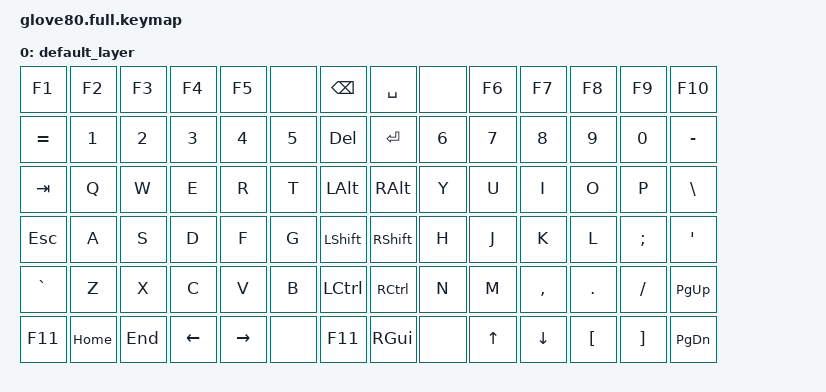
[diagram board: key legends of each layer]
/*
 * Copyright (c) 2020 The ZMK Contributors
 *
 * SPDX-License-Identifier: MIT
 */

#include <behaviors.dtsi>
#include <dt-bindings/zmk/keys.h>

/ {
    keymap {
        compatible = "zmk,keymap";

        default_layer {
// ---------------------------------------------------------------------------------------------------------------------------------
// |  F1   |  F2 |  F3 |  F4  |  F5  | n/a  |  BKSP   | | SPACE   | n/a  |  F6   |  F7   |  F8  |   F9  |  F10 |
// |  =    |  1  |  2  |  3   |  4   |  5   |  DEL    | | ENTER   |  6   |   7   |   8   |  9   |   0   |   -  |
// |  TAB  |  Q  |  W  |  E   |  R   |  T   | L ALT   | | R ALT   |  Y   |   U   |   I   |  O   |   P   |   \  |
// |  ESC  |  A  |  S  |  D   |  F   |  G   | L SHIFT | | R SHIFT |  H   |   J   |   K   |  L   |   ;   |   '  |
// |   `   |  Z  |  X  |  C   |  V   |  B   | L CTRL  | | R CTRL  |  N   |   M   |   ,   |  .   |   /   | PGUP |
// | MAGIC | HOME| END | LEFT | RIGHT| n/a  |  LAYER  | |  WIN    | n/a  |  UP   | DOWN  |  [   |   ]   | PGDN |

// [SC] MAGIC and LAYER are currently mapped to F11 - these will be fixed later
            bindings = <
    &kp F1      &kp F2      &kp F3      &kp F4      &kp F5      &none   &kp BSPC    &kp SPACE   &none   &kp F6  &kp F7      &kp F8      &kp F9      &kp F10
    &kp EQUAL   &kp N1      &kp N2      &kp N3      &kp N4      &kp N5  &kp DEL     &kp RET     &kp N6  &kp N7  &kp N8      &kp N9      &kp N0      &kp MINUS
    &kp TAB     &kp Q       &kp W       &kp E       &kp R       &kp T   &kp LALT    &kp RALT    &kp Y   &kp U   &kp I       &kp O       &kp P       &kp BSLH
    &kp ESC     &kp A       &kp S       &kp D       &kp F       &kp G   &kp LSHFT   &kp RSHFT   &kp H   &kp J   &kp K       &kp L       &kp SEMI    &kp SQT
    &kp GRAVE   &kp Z       &kp X       &kp C       &kp V       &kp B   &kp LCTRL   &kp RCTRL   &kp N   &kp M   &kp COMMA   &kp DOT     &kp FSLH    &kp PG_UP
    &kp F11     &kp HOME    &kp END     &kp LEFT    &kp RIGHT   &none   &kp F11     &kp RGUI    &none   &kp UP  &kp DOWN    &kp LBKT    &kp RBKT    &kp PG_DN
            >;
        };
    };
};
